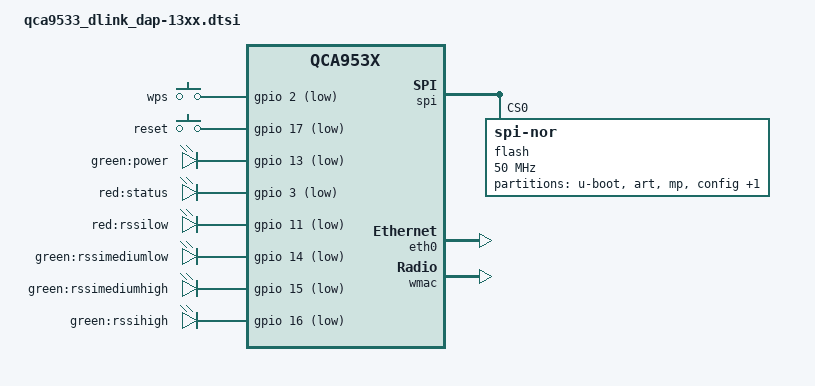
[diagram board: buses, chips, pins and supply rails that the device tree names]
// SPDX-License-Identifier: GPL-2.0-or-later OR MIT

#include "qca953x.dtsi"

#include <dt-bindings/gpio/gpio.h>
#include <dt-bindings/input/input.h>

/ {
	aliases {
		led-boot = &led_power;
		led-failsafe = &led_status;
		led-running = &led_power;
		led-upgrade = &led_status;
	};

	keys {
		compatible = "gpio-keys";

		wps {
			label = "wps";
			linux,code = <KEY_WPS_BUTTON>;
			gpios = <&gpio 2 GPIO_ACTIVE_LOW>;
		};

		reset {
			label = "reset";
			linux,code = <KEY_RESTART>;
			gpios = <&gpio 17 GPIO_ACTIVE_LOW>;
		};
	};

	leds {
		compatible = "gpio-leds";

		led_power: power {
			label = "green:power";
			gpios = <&gpio 13 GPIO_ACTIVE_LOW>;
		};

		led_status: status {
			label = "red:status";
			gpios = <&gpio 3 GPIO_ACTIVE_LOW>;
		};

		rssilow {
			label = "red:rssilow";
			gpios = <&gpio 11 GPIO_ACTIVE_LOW>;
		};

		rssimediumlow {
			label = "green:rssimediumlow";
			gpios = <&gpio 14 GPIO_ACTIVE_LOW>;
		};

		rssimediumhigh {
			label = "green:rssimediumhigh";
			gpios = <&gpio 15 GPIO_ACTIVE_LOW>;
		};

		rssihigh {
			label = "green:rssihigh";
			gpios = <&gpio 16 GPIO_ACTIVE_LOW>;
		};
	};
};

&spi {
	status = "okay";

	flash@0 {
		compatible = "jedec,spi-nor";
		reg = <0>;
		spi-max-frequency = <50000000>;

		partitions {
			compatible = "fixed-partitions";
			#address-cells = <1>;
			#size-cells = <1>;

			partition@0 {
				label = "u-boot";
				reg = <0x0 0x10000>;
				read-only;
			};

			art: partition@10000 {
				label = "art";
				reg = <0x10000 0x10000>;
				read-only;
			};

			partition@20000 {
				label = "mp";
				reg = <0x20000 0x10000>;
				read-only;
			};

			partition@30000 {
				label = "config";
				reg = <0x30000 0x10000>;
				read-only;
			};

			partition@40000 {
				label = "firmware";
				reg = <0x40000 0x7c0000>;
				compatible = "denx,uimage";
			};
		};
	};
};

&eth0 {
	status = "okay";
};

&wmac {
	status = "okay";

	mtd-cal-data = <&art 0x1000>;
};
